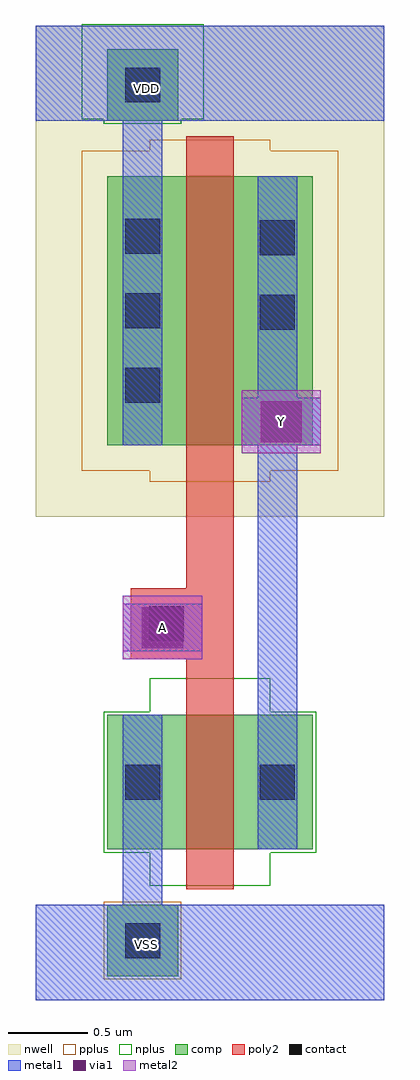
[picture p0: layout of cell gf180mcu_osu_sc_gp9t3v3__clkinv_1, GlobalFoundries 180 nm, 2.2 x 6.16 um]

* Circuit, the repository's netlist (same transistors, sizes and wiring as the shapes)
* Copyright 2022 Google LLC
*
* Licensed under the Apache License, Version 2.0 (the "License");
* you may not use this file except in compliance with the License.
* You may obtain a copy of the License at
*
*      http://www.apache.org/licenses/LICENSE-2.0
*
* Unless required by applicable law or agreed to in writing, software
* distributed under the License is distributed on an "AS IS" BASIS,
* WITHOUT WARRANTIES OR CONDITIONS OF ANY KIND, either express or implied.
* See the License for the specific language governing permissions and
* limitations under the License.

.inc "/import/yukari1/lrburle/OSU_180/char/techfiles/design.hspice"
.lib "/import/yukari1/lrburle/OSU_180/char/techfiles/sm141064.hspice" typical

.GLOBAL VDD
.GLOBAL VSS

.option scale=0.05u

.subckt gf180mcu_osu_sc_gp9t3v3__clkinv_1 A Y
X0 Y A VSS VSS nmos_3p3 w=17 l=6
X1 Y A VDD VDD pmos_3p3 w=34 l=6
.ends

** hspice subcircuit dictionary

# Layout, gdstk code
import gdstk
lib = gdstk.Library(unit=1e-6, precision=1e-09)
def R(c, l, rs):  # rectangles x0, y0, x1, y1
    for r in rs: c.add(gdstk.rectangle(r[:2], r[2:], *l))
def A(c, l, x, y, w, h, nx, ny, dx, dy):  # array of equal rectangles
    R(c, l, [(x+i*dx, y+j*dy, x+i*dx+w, y+j*dy+h) for i in range(nx) for j in range(ny)])
nwell = (21, 0)
comp = (22, 0)
poly2 = (30, 0)
pplus = (31, 0)
nplus = (32, 0)
contact = (33, 0)
metal1 = (34, 0)
via1 = (35, 0)
metal2 = (36, 0)

gf180mcu_osu_sc_gp9t3v3_ = lib.new_cell('gf180mcu_osu_sc_gp9t3v3__clkinv_1')
R(gf180mcu_osu_sc_gp9t3v3_, nwell, [(0,3.05,2.2,6.15)])
R(gf180mcu_osu_sc_gp9t3v3_, comp, [(0.45,0.15,0.9,0.6), (0.45,0.95,1.75,1.8), (0.45,3.5,1.75,5.2), (0.45,5.55,0.9,6)])
R(gf180mcu_osu_sc_gp9t3v3_, poly2, [(0.95,0.7,1.25,2.15), (0.6,2.15,1.25,2.6), (0.95,2.6,1.25,5.45)])
R(gf180mcu_osu_sc_gp9t3v3_, pplus, [(0.43,0.13,0.92,0.62), (0.72,3.27,1.48,3.34), (0.29,3.34,1.91,5.36), (0.72,5.36,1.48,5.43)])
R(gf180mcu_osu_sc_gp9t3v3_, nplus, [(0.72,0.72,1.48,0.93), (0.43,0.93,1.77,1.82), (0.72,1.82,1.48,2.03), (0.43,5.53,0.92,5.56), (0.29,5.56,1.06,6.16)])
A(gf180mcu_osu_sc_gp9t3v3_, contact, 0.565, 3.77, 0.22, 0.22, 1, 3, 0, 0.47)
R(gf180mcu_osu_sc_gp9t3v3_, contact, [(0.565,0.265,0.785,0.485), (0.565,1.265,0.785,1.485), (1.415,1.265,1.635,1.485), (0.715,2.265,0.935,2.485), (1.415,4.23,1.635,4.45), (1.415,4.7,1.635,4.92), (0.565,5.665,0.785,5.885)])
R(gf180mcu_osu_sc_gp9t3v3_, metal1, [(0,0,2.2,0.6), (0.55,0.6,0.8,1.8), (1.4,0.95,1.65,3.5), (0.55,2.2,1.05,2.5), (0.55,3.5,0.8,5.55), (1.3,3.5,1.8,3.8), (1.4,3.8,1.65,5.2), (0,5.55,2.2,6.15)])
R(gf180mcu_osu_sc_gp9t3v3_, via1, [(0.67,2.22,0.93,2.48), (1.42,3.52,1.68,3.78)])
R(gf180mcu_osu_sc_gp9t3v3_, metal2, [(0.55,2.15,1.05,2.55), (1.3,3.45,1.8,3.85)])
gf180mcu_osu_sc_gp9t3v3_.add(gdstk.Label('VDD', (0.7,5.75), layer=34, texttype=0))
gf180mcu_osu_sc_gp9t3v3_.add(gdstk.Label('VSS', (0.7,0.35), layer=34, texttype=0))
gf180mcu_osu_sc_gp9t3v3_.add(gdstk.Label('A', (0.8,2.35), layer=36, texttype=10))
gf180mcu_osu_sc_gp9t3v3_.add(gdstk.Label('Y', (1.55,3.65), layer=36, texttype=10))

lib.write_gds('gf180mcu_osu_sc_gp9t3v3__clkinv_1.gds')
